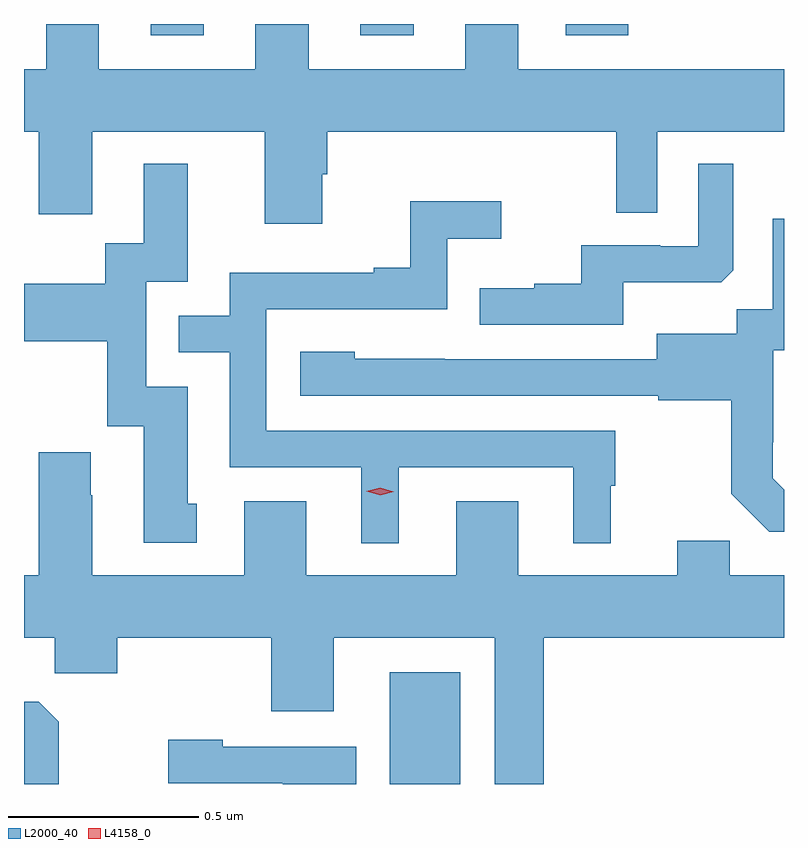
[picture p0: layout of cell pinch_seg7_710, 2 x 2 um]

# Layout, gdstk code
import gdstk
lib = gdstk.Library(unit=1e-6, precision=1e-09)
def R(c, l, rs):  # rectangles x0, y0, x1, y1
    for r in rs: c.add(gdstk.rectangle(r[:2], r[2:], *l))
def P(c, l, *ps):  # polygons
    for p in ps: c.add(gdstk.Polygon(p, *l))
L2000_40 = (2000, 40)
L4158_0 = (4158, 0)

pinch_seg7_710 = lib.new_cell('pinch_seg7_710')
R(pinch_seg7_710, L2000_40, [(221.687,1036.195,221.872,1036.489), (221.057,1038.165,221.197,1038.195), (221.609,1038.165,221.749,1038.195), (222.149,1038.165,222.314,1038.195)])
P(pinch_seg7_710, L2000_40, [(221.509,1037.799),(221.522,1037.799),(221.522,1037.912),(222.282,1037.912),(222.282,1037.698),(222.39,1037.698),(222.39,1037.912),(222.724,1037.912),(222.724,1038.076),(222.025,1038.076),(222.025,1038.195),(221.885,1038.195),(221.885,1038.076),(221.473,1038.076),(221.473,1038.195),(221.333,1038.195),(221.333,1038.076),(220.921,1038.076),(220.921,1038.195),(220.782,1038.195),(220.782,1038.076),(220.724,1038.076),(220.724,1037.912),(220.763,1037.912),(220.763,1037.694),(220.903,1037.694),(220.903,1037.912),(221.357,1037.912),(221.357,1037.67),(221.509,1037.67)],
  [(222.301,1037.516),(222.559,1037.516),(222.591,1037.547),(222.591,1037.827),(222.498,1037.827),(222.498,1037.61),(222.398,1037.61),(222.398,1037.613),(222.191,1037.613),(222.191,1037.512),(222.067,1037.512),(222.067,1037.5),(221.923,1037.5),(221.923,1037.403),(222.301,1037.403)],
  [(221.179,1036.932),(221.155,1036.932),(221.155,1037.241),(221.046,1037.241),(221.046,1037.517),(221.155,1037.517),(221.155,1037.827),(221.039,1037.827),(221.039,1037.618),(220.938,1037.618),(220.938,1037.512),(220.724,1037.512),(220.724,1037.36),(220.943,1037.36),(220.943,1037.136),(221.039,1037.136),(221.039,1036.83),(221.179,1036.83)],
  [(221.71,1037.028),(222.17,1037.028),(222.17,1036.829),(222.268,1036.829),(222.268,1036.98),(222.28,1036.98),(222.28,1037.124),(221.361,1037.124),(221.361,1037.445),(221.838,1037.445),(221.838,1037.63),(221.98,1037.63),(221.98,1037.728),(221.74,1037.728),(221.74,1037.554),(221.645,1037.554),(221.645,1037.541),(221.265,1037.541),(221.265,1037.427),(221.131,1037.427),(221.131,1037.331),(221.265,1037.331),(221.265,1037.028),(221.612,1037.028),(221.612,1036.829),(221.71,1036.829)],
  [(222.724,1036.97),(222.694,1037),(222.694,1037.095),(222.696,1037.095),(222.696,1037.336),(222.724,1037.336),(222.724,1037.683),(222.695,1037.683),(222.695,1037.444),(222.6,1037.444),(222.6,1037.38),(222.389,1037.38),(222.389,1037.313),(221.831,1037.313),(221.831,1037.314),(221.595,1037.314),(221.595,1037.332),(221.451,1037.332),(221.451,1037.217),(222.393,1037.217),(222.393,1037.205),(222.585,1037.205),(222.585,1036.959),(222.685,1036.859),(222.724,1036.859)],
  [(222.092,1036.58),(222.724,1036.58),(222.724,1036.744),(222.581,1036.744),(222.581,1036.835),(222.443,1036.835),(222.443,1036.744),(222.025,1036.744),(222.025,1036.939),(221.861,1036.939),(221.861,1036.744),(221.467,1036.744),(221.467,1036.939),(221.303,1036.939),(221.303,1036.744),(220.903,1036.744),(220.903,1036.955),(220.9,1036.955),(220.9,1037.068),(220.763,1037.068),(220.763,1036.744),(220.724,1036.744),(220.724,1036.58),(220.805,1036.58),(220.805,1036.487),(220.969,1036.487),(220.969,1036.58),(221.375,1036.58),(221.375,1036.386),(221.539,1036.386),(221.539,1036.58),(221.963,1036.58),(221.963,1036.195),(222.092,1036.195)],
  [(220.815,1036.359),(220.763,1036.411),(220.724,1036.411),(220.724,1036.195),(220.815,1036.195)],
  [(221.598,1036.293),(221.247,1036.293),(221.247,1036.312),(221.103,1036.312),(221.103,1036.197),(221.405,1036.197),(221.405,1036.195),(221.598,1036.195)])
P(pinch_seg7_710, L4158_0, [(221.661,1036.955),(221.625,1036.966),(221.625,1036.966),(221.625,1036.966),(221.661,1036.975),(221.697,1036.964),(221.697,1036.964),(221.697,1036.964)])

lib.write_gds('pinch_seg7_710.gds')
